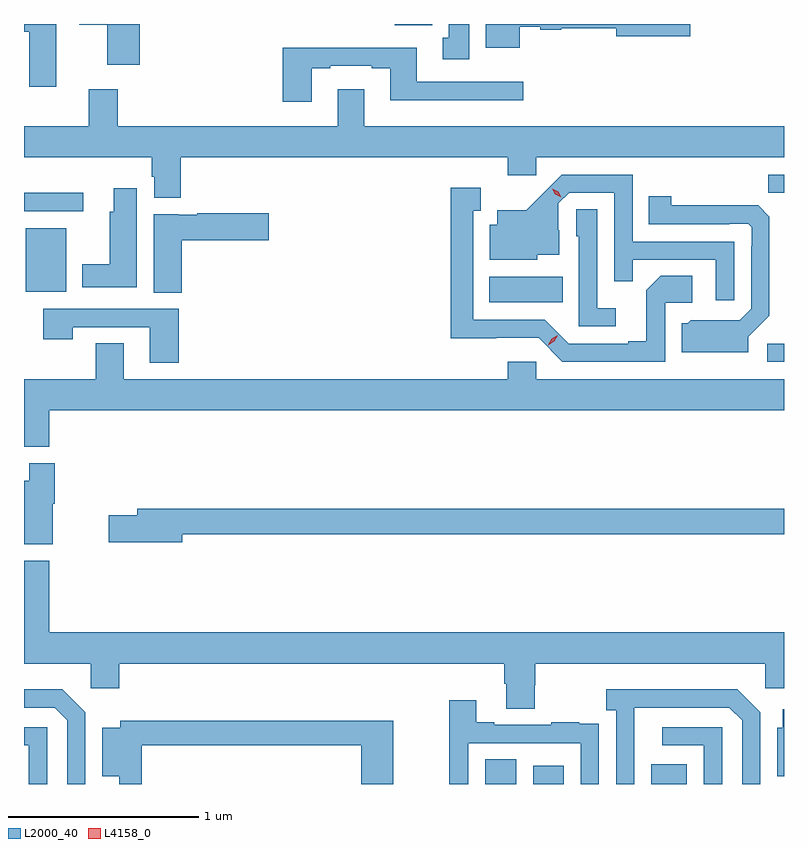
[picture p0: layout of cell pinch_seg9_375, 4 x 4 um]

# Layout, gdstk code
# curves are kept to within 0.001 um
import gdstk
lib = gdstk.Library(unit=1e-6, precision=1e-09)
def R(c, l, rs):  # rectangles x0, y0, x1, y1
    for r in rs: c.add(gdstk.rectangle(r[:2], r[2:], *l))
def P(c, l, *ps):  # polygons
    for p in ps: c.add(gdstk.Polygon(p, *l))
L2000_40 = (2000, 40)
L4158_0 = (4158, 0)

pinch_seg9_375 = lib.new_cell('pinch_seg9_375')
R(pinch_seg9_375, L2000_40, [(326.714,1233.082,326.878,1233.212), (326.966,1233.082,327.127,1233.178), (327.587,1233.082,327.775,1233.187), (328.197,1235.304,328.286,1235.4), (326.735,1235.618,327.122,1235.752), (324.296,1235.672,324.508,1236.007), (324.286,1236.096,324.598,1236.194), (328.204,1236.193,328.286,1236.288), (326.237,1237.076,326.434,1237.082)])
P(pinch_seg9_375, L2000_40, [(326.896,1237.067),(327.003,1237.067),(327.003,1237.052),(327.114,1237.052),(327.114,1237.06),(327.404,1237.06),(327.404,1237.018),(327.793,1237.018),(327.793,1237.082),(326.717,1237.082),(326.717,1236.956),(326.896,1236.956)],
  [(324.457,1237.082),(324.286,1237.082),(324.286,1237.04),(324.314,1237.04),(324.314,1236.753),(324.457,1236.753)],
  [(326.629,1237.082),(326.522,1237.082),(326.522,1237.01),(326.489,1237.01),(326.489,1236.897),(326.629,1236.897)],
  [(324.896,1237.082),(324.576,1237.082),(324.576,1237.078),(324.725,1237.078),(324.725,1236.867),(324.896,1236.867)],
  [(325.801,1236.849),(325.897,1236.849),(325.897,1236.861),(326.117,1236.861),(326.117,1236.849),(326.213,1236.849),(326.213,1236.68),(326.914,1236.68),(326.914,1236.777),(326.353,1236.777),(326.353,1236.958),(325.649,1236.958),(325.649,1236.672),(325.801,1236.672)],
  [(325.112,1236.38),(326.831,1236.38),(326.831,1236.285),(326.982,1236.285),(326.982,1236.38),(328.286,1236.38),(328.286,1236.544),(326.077,1236.544),(326.077,1236.739),(325.937,1236.739),(325.937,1236.544),(324.779,1236.544),(324.779,1236.739),(324.626,1236.739),(324.626,1236.544),(324.286,1236.544),(324.286,1236.38),(324.959,1236.38),(324.959,1236.279),(324.971,1236.279),(324.971,1236.167),(325.112,1236.167)],
  [(328.023,1235.937),(327.489,1235.937),(327.489,1236.288),(327.116,1236.288),(326.929,1236.103),(326.777,1236.103),(326.777,1236.025),(326.738,1236.025),(326.738,1235.84),(326.988,1235.84),(326.988,1235.867),(327.103,1235.867),(327.103,1235.996),(327.099,1235.996),(327.099,1236.138),(327.156,1236.195),(327.393,1236.195),(327.393,1235.728),(327.491,1235.728),(327.491,1235.841),(327.927,1235.841),(327.927,1235.628),(328.023,1235.628)],
  [(327.66,1235.616),(327.802,1235.616),(327.802,1235.756),(327.637,1235.756),(327.561,1235.68),(327.561,1235.413),(327.467,1235.413),(327.467,1235.4),(327.153,1235.4),(327.027,1235.526),(326.65,1235.526),(326.65,1236.099),(326.689,1236.099),(326.689,1236.22),(326.532,1236.22),(326.532,1235.429),(326.994,1235.43),(327.12,1235.304),(327.66,1235.304)],
  [(324.88,1236.217),(324.758,1236.217),(324.758,1236.093),(324.737,1236.093),(324.737,1235.818),(324.593,1235.818),(324.593,1235.696),(324.88,1235.696)],
  [(328.099,1235.436),(328.209,1235.546),(328.209,1236.068),(328.15,1236.127),(327.693,1236.128),(327.693,1236.175),(327.574,1236.175),(327.574,1236.027),(327.998,1236.027),(327.998,1236.03),(328.098,1236.03),(328.116,1236.012),(328.116,1235.912),(328.113,1235.912),(328.113,1235.583),(328.053,1235.523),(327.796,1235.524),(327.78,1235.508),(327.749,1235.508),(327.749,1235.354),(328.099,1235.354)],
  [(327.4,1235.587),(327.303,1235.587),(327.303,1236.107),(327.192,1236.107),(327.192,1235.964),(327.207,1235.964),(327.207,1235.49),(327.4,1235.49)],
  [(325.115,1235.945),(325.573,1235.945),(325.573,1236.087),(325.198,1236.087),(325.198,1236.079),(325.098,1236.079),(325.098,1236.082),(324.968,1236.082),(324.968,1235.668),(325.115,1235.668)],
  [(325.1,1235.583),(324.387,1235.583),(324.387,1235.424),(324.543,1235.424),(324.543,1235.487),(324.947,1235.487),(324.947,1235.298),(325.1,1235.298)],
  [(324.419,1235.048),(328.286,1235.048),(328.286,1235.212),(326.982,1235.212),(326.982,1235.305),(326.831,1235.305),(326.831,1235.212),(324.811,1235.212),(324.811,1235.402),(324.664,1235.402),(324.664,1235.212),(324.286,1235.212),(324.286,1234.856),(324.419,1234.856)],
  [(324.436,1234.557),(324.449,1234.557),(324.449,1234.771),(324.314,1234.771),(324.314,1234.678),(324.286,1234.678),(324.286,1234.343),(324.436,1234.343)],
  [(325.12,1234.396),(328.286,1234.396),(328.286,1234.532),(324.881,1234.532),(324.881,1234.496),(324.732,1234.496),(324.732,1234.354),(325.12,1234.354)],
  [(326.973,1233.603),(326.978,1233.603),(326.978,1233.716),(328.188,1233.716),(328.188,1233.585),(328.286,1233.585),(328.286,1233.88),(324.419,1233.88),(324.419,1234.258),(324.286,1234.258),(324.286,1233.716),(324.636,1233.716),(324.636,1233.585),(324.788,1233.585),(324.788,1233.716),(326.813,1233.716),(326.813,1233.61),(326.825,1233.61),(326.825,1233.478),(326.973,1233.478)],
  [(324.609,1233.459),(324.488,1233.58),(324.286,1233.58),(324.286,1233.483),(324.447,1233.483),(324.513,1233.417),(324.513,1233.082),(324.609,1233.082)],
  [(327.498,1233.283),(327.499,1233.483),(327.999,1233.483),(328.065,1233.417),(328.065,1233.082),(328.161,1233.082),(328.161,1233.459),(328.04,1233.58),(327.351,1233.58),(327.351,1233.47),(327.402,1233.47),(327.402,1233.082),(327.498,1233.082)],
  [(326.625,1233.297),(327.216,1233.297),(327.216,1233.082),(327.312,1233.082),(327.312,1233.29),(327.311,1233.29),(327.311,1233.399),(327.209,1233.399),(327.209,1233.406),(327.061,1233.406),(327.061,1233.393),(326.761,1233.393),(326.761,1233.406),(326.665,1233.406),(326.665,1233.523),(326.524,1233.523),(326.524,1233.082),(326.625,1233.082)],
  [(328.286,1233.475),(328.28,1233.475),(328.28,1233.379),(328.25,1233.379),(328.25,1233.122),(328.286,1233.122)],
  [(324.905,1233.286),(326.06,1233.286),(326.06,1233.082),(326.23,1233.082),(326.23,1233.415),(324.792,1233.415),(324.792,1233.379),(324.698,1233.379),(324.698,1233.122),(324.788,1233.122),(324.788,1233.082),(324.905,1233.082)],
  [(327.96,1233.381),(327.645,1233.381),(327.645,1233.285),(327.864,1233.285),(327.864,1233.082),(327.96,1233.082)],
  [(324.408,1233.381),(324.286,1233.381),(324.286,1233.285),(324.312,1233.285),(324.312,1233.082),(324.408,1233.082)])
P(pinch_seg9_375, L4158_0, [(327.114,1236.169),(327.083,1236.185),(327.066,1236.214),(327.066,1236.215),(327.066,1236.215),(327.097,1236.199),(327.114,1236.17),(327.114,1236.169)],
  [(327.046,1235.392),(327.046,1235.393),(327.063,1235.425),(327.095,1235.444),(327.095,1235.444),(327.095,1235.444),(327.078,1235.412),(327.046,1235.392)])

lib.write_gds('pinch_seg9_375.gds')
